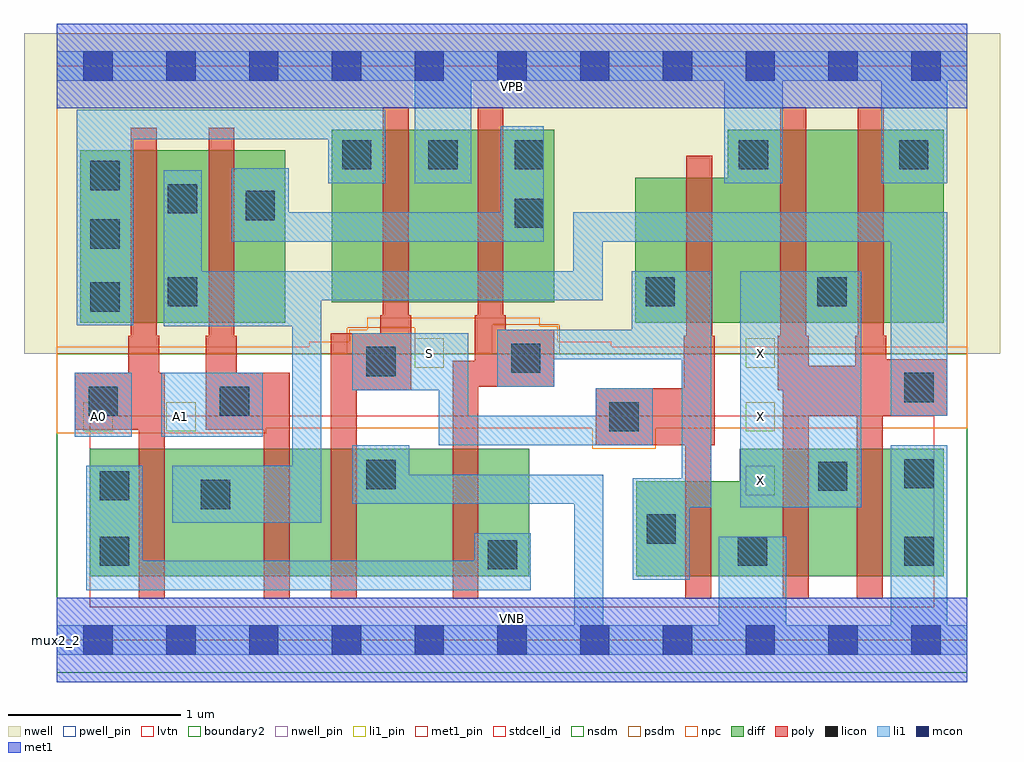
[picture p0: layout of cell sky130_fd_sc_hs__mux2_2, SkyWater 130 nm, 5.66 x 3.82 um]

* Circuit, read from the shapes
.subckt sky130_fd_sc_hs__mux2_2 A0 A1 S VGND VNB VPB VPWR X
XM1 n1 A0 n2 VNB sky130_fd_pr__nfet_01v8_lvt w=0.74 l=0.15
XM2 n3 A1 n1 VNB sky130_fd_pr__nfet_01v8_lvt w=0.74 l=0.15
XM3 VGND S n3 VNB sky130_fd_pr__nfet_01v8_lvt w=0.74 l=0.15
XM4 n2 n4 VGND VNB sky130_fd_pr__nfet_01v8_lvt w=0.74 l=0.15
XM5 VGND S n4 VNB sky130_fd_pr__nfet_01v8_lvt w=0.55 l=0.15
XM6 X n1 VGND VNB sky130_fd_pr__nfet_01v8_lvt w=0.74 l=0.15 m=2
XM7 n1 A0 n5 VPB sky130_fd_pr__pfet_01v8 w=1 l=0.15
XM8 n6 A1 n1 VPB sky130_fd_pr__pfet_01v8 w=1 l=0.15
XM9 VPWR S n5 VPB sky130_fd_pr__pfet_01v8 w=1 l=0.15
XM10 n6 n4 VPWR VPB sky130_fd_pr__pfet_01v8 w=1 l=0.15
XM11 VPWR S n4 VPB sky130_fd_pr__pfet_01v8 w=0.84 l=0.15
XM12 X n1 VPWR VPB sky130_fd_pr__pfet_01v8 w=1.12 l=0.15 m=2
.ends

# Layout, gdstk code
import gdstk
lib = gdstk.Library(unit=1e-6, precision=1e-09)
def R(c, l, rs):  # rectangles x0, y0, x1, y1
    for r in rs: c.add(gdstk.rectangle(r[:2], r[2:], *l))
def A(c, l, x, y, w, h, nx, ny, dx, dy):  # array of equal rectangles
    R(c, l, [(x+i*dx, y+j*dy, x+i*dx+w, y+j*dy+h) for i in range(nx) for j in range(ny)])
def P(c, l, *ps):  # polygons
    for p in ps: c.add(gdstk.Polygon(p, *l))
nwell_pin = (64, 16)
nwell = (64, 20)
diff = (65, 20)
poly = (66, 20)
licon = (66, 44)
li1_pin = (67, 16)
li1 = (67, 20)
mcon = (67, 44)
met1_pin = (68, 16)
met1 = (68, 20)
stdcell_id = (81, 4)
nsdm = (93, 44)
psdm = (94, 20)
npc = (95, 20)
pwell_pin = (122, 16)
lvtn = (125, 44)
boundary2 = (236, 0)

sky130_fd_sc_hs__mux2_2 = lib.new_cell('sky130_fd_sc_hs__mux2_2')
R(sky130_fd_sc_hs__mux2_2, nwell_pin, [(0,3.085,5.28,3.33)])
R(sky130_fd_sc_hs__mux2_2, nwell, [(-0.19,1.66,5.47,3.52)])
R(sky130_fd_sc_hs__mux2_2, diff, [(0.19,0.37,2.74,1.11), (0.135,1.84,1.325,2.84), (1.595,1.96,2.885,2.96)])
P(sky130_fd_sc_hs__mux2_2, diff, [(5.145,1.11),(3.96,1.11),(3.96,0.92),(3.36,0.92),(3.36,0.37),(5.145,0.37)],
  [(5.145,2.96),(3.89,2.96),(3.89,2.68),(3.355,2.68),(3.355,1.84),(5.145,1.84)])
P(sky130_fd_sc_hs__mux2_2, poly, [(5.165,1.63),(4.81,1.63),(4.81,1.765),(4.795,1.765),(4.795,3.09),(4.645,3.09),(4.645,1.765),(4.63,1.765),(4.63,1.59),(4.36,1.59),(4.36,1.765),(4.345,1.765),(4.345,3.09),(4.195,3.09),(4.195,1.765),(4.18,1.765),(4.18,1.45),(4.21,1.45),(4.21,0.24),(4.36,0.24),(4.36,1.3),(4.64,1.3),(4.64,0.24),(4.79,0.24),(4.79,1.3),(5.165,1.3)],
  [(3.815,1.765),(3.8,1.765),(3.8,2.81),(3.65,2.81),(3.65,1.765),(3.635,1.765),(3.635,1.46),(3.125,1.46),(3.125,1.13),(3.645,1.13),(3.645,0.24),(3.795,0.24),(3.795,1.13),(3.815,1.13)],
  [(2.885,1.8),(2.605,1.8),(2.605,1.885),(2.59,1.885),(2.59,3.09),(2.44,3.09),(2.44,1.885),(2.425,1.885),(2.425,1.62),(2.295,1.62),(2.295,0.24),(2.445,0.24),(2.445,1.47),(2.885,1.47)],
  [(2.055,1.885),(2.04,1.885),(2.04,3.09),(1.89,3.09),(1.89,1.885),(1.875,1.885),(1.875,1.78),(1.59,1.78),(1.59,0.24),(1.74,0.24),(1.74,1.45),(2.055,1.45)],
  [(1.35,1.55),(1.045,1.55),(1.045,1.765),(1.03,1.765),(1.03,2.97),(0.88,2.97),(0.88,1.765),(0.865,1.765),(0.865,1.22),(1.2,1.22),(1.2,0.24),(1.35,0.24)],
  [(0.625,1.55),(0.595,1.55),(0.595,1.765),(0.58,1.765),(0.58,2.97),(0.43,2.97),(0.43,1.765),(0.415,1.765),(0.415,1.55),(0.105,1.55),(0.105,1.22),(0.475,1.22),(0.475,0.24),(0.625,0.24)])
A(sky130_fd_sc_hs__mux2_2, licon, 1.655, 2.73, 0.17, 0.17, 3, 1, 0.5, 0)
R(sky130_fd_sc_hs__mux2_2, licon, [(2.5,0.41,2.67,0.58), (0.25,0.43,0.42,0.6), (3.95,0.43,4.12,0.6), (4.915,0.43,5.085,0.6), (3.42,0.56,3.59,0.73), (0.835,0.76,1.005,0.93), (0.25,0.81,0.42,0.98), (4.415,0.865,4.585,1.035), (1.795,0.875,1.965,1.045), (4.915,0.88,5.085,1.05), (3.205,1.21,3.375,1.38), (0.185,1.3,0.355,1.47), (0.945,1.3,1.115,1.47), (4.915,1.38,5.085,1.55), (1.795,1.53,1.965,1.7), (2.635,1.55,2.805,1.72), (0.195,1.905,0.365,2.075), (0.645,1.935,0.815,2.105), (3.415,1.935,3.585,2.105), (4.41,1.935,4.58,2.105), (0.195,2.27,0.365,2.44), (2.655,2.39,2.825,2.56), (1.095,2.435,1.265,2.605), (0.645,2.475,0.815,2.645), (0.195,2.61,0.365,2.78), (3.955,2.73,4.125,2.9), (4.885,2.73,5.055,2.9)])
A(sky130_fd_sc_hs__mux2_2, li1_pin, 3.995, 0.84, 0.17, 0.17, 1, 3, 0, 0.37)
R(sky130_fd_sc_hs__mux2_2, li1_pin, [(0.155,1.21,0.325,1.38), (0.635,1.21,0.805,1.38), (2.075,1.58,2.245,1.75)])
R(sky130_fd_sc_hs__mux2_2, li1, [(3.965,0.77,4.665,2.14), (0.105,1.18,0.435,1.55), (0.605,1.18,1.195,1.55)])
P(sky130_fd_sc_hs__mux2_2, li1, [(1.905,3.075),(0.115,3.075),(0.115,1.825),(0.445,1.825),(0.445,2.905),(1.575,2.905),(1.575,2.65),(1.905,2.65)],
  [(5.28,0.085),(5.165,0.085),(5.165,1.13),(4.835,1.13),(4.835,0.085),(4.23,0.085),(4.23,0.6),(3.84,0.6),(3.84,0.085),(3.17,0.085),(3.17,0.96),(2.045,0.96),(2.045,1.13),(1.715,1.13),(1.715,0.79),(3,0.79),(3,0.085),(0,0.085),(0,-0.085),(5.28,-0.085)],
  [(2.75,0.62),(2.42,0.62),(2.42,0.46),(0.5,0.46),(0.5,1.01),(0.17,1.01),(0.17,0.29),(2.75,0.29)],
  [(2.825,2.98),(2.575,2.98),(2.575,2.48),(1.345,2.48),(1.345,2.735),(1.015,2.735),(1.015,2.31),(2.825,2.31)],
  [(3.455,1.46),(3.125,1.46),(3.125,1.3),(2.385,1.3),(2.385,1.78),(1.715,1.78),(1.715,1.45),(2.215,1.45),(2.215,1.13),(3.455,1.13)],
  [(3.795,2.14),(3.335,2.14),(3.335,1.8),(2.555,1.8),(2.555,1.47),(2.885,1.47),(2.885,1.63),(3.625,1.63),(3.625,0.94),(3.34,0.94),(3.34,0.35),(3.67,0.35),(3.67,0.77),(3.795,0.77)],
  [(5.165,2.48),(2.995,2.48),(2.995,2.14),(0.84,2.14),(0.84,2.725),(0.62,2.725),(0.62,1.82),(1.365,1.82),(1.365,1.01),(0.67,1.01),(0.67,0.68),(1.535,0.68),(1.535,1.97),(3.165,1.97),(3.165,2.31),(4.835,2.31),(4.835,1.3),(5.165,1.3)],
  [(5.28,3.415),(0,3.415),(0,3.245),(2.075,3.245),(2.075,2.65),(2.405,2.65),(2.405,3.245),(3.87,3.245),(3.87,2.65),(4.21,2.65),(4.21,3.245),(4.78,3.245),(4.78,2.65),(5.165,2.65),(5.165,3.245),(5.28,3.245)])
A(sky130_fd_sc_hs__mux2_2, mcon, 0.155, -0.085, 0.17, 0.17, 11, 2, 0.48, 3.33)
R(sky130_fd_sc_hs__mux2_2, met1_pin, [(0,0,5.28,0.245), (0,3.085,5.28,3.33)])
R(sky130_fd_sc_hs__mux2_2, met1, [(0,-0.245,5.28,0.245), (0,3.085,5.28,3.575)])
R(sky130_fd_sc_hs__mux2_2, stdcell_id, [(0,0,5.28,3.33)])
R(sky130_fd_sc_hs__mux2_2, nsdm, [(0,-0.19,5.28,1.66)])
P(sky130_fd_sc_hs__mux2_2, psdm, [(5.28,3.52),(0,3.52),(0,1.66),(1.685,1.66),(1.685,1.81),(2.075,1.81),(2.075,1.66),(2.525,1.66),(2.525,1.83),(2.915,1.83),(2.915,1.66),(5.28,1.66)])
P(sky130_fd_sc_hs__mux2_2, npc, [(5.28,1.7),(3.215,1.7),(3.215,1.73),(2.905,1.73),(2.905,1.82),(2.8,1.82),(2.8,1.87),(1.8,1.87),(1.8,1.8),(1.695,1.8),(1.695,1.73),(1.465,1.73),(1.465,1.7),(0,1.7),(0,1.2),(1.215,1.2),(1.215,1.23),(3.105,1.23),(3.105,1.11),(3.475,1.11),(3.475,1.23),(5.28,1.23)])
R(sky130_fd_sc_hs__mux2_2, pwell_pin, [(0,0,5.28,0.245)])
R(sky130_fd_sc_hs__mux2_2, lvtn, [(0.19,0.19,5.09,1.3)])
R(sky130_fd_sc_hs__mux2_2, boundary2, [(0,0,5.28,3.33)])
sky130_fd_sc_hs__mux2_2.add(gdstk.Label('mux2_2', (0,0), layer=83, texttype=44))
sky130_fd_sc_hs__mux2_2.add(gdstk.Label('VNB', (2.64,0.123), layer=64, texttype=59))
sky130_fd_sc_hs__mux2_2.add(gdstk.Label('VPB', (2.64,3.208), layer=64, texttype=5))
sky130_fd_sc_hs__mux2_2.add(gdstk.Label('VPWR', (2.64,3.208), layer=68, texttype=5))
sky130_fd_sc_hs__mux2_2.add(gdstk.Label('VGND', (2.64,0.123), layer=68, texttype=5))
sky130_fd_sc_hs__mux2_2.add(gdstk.Label('S', (2.16,1.665), layer=67, texttype=5))
sky130_fd_sc_hs__mux2_2.add(gdstk.Label('A1', (0.72,1.295), layer=67, texttype=5))
sky130_fd_sc_hs__mux2_2.add(gdstk.Label('A0', (0.24,1.295), layer=67, texttype=5))
sky130_fd_sc_hs__mux2_2.add(gdstk.Label('X', (4.08,0.925), layer=67, texttype=5))
sky130_fd_sc_hs__mux2_2.add(gdstk.Label('X', (4.08,1.295), layer=67, texttype=5))
sky130_fd_sc_hs__mux2_2.add(gdstk.Label('X', (4.08,1.665), layer=67, texttype=5))

lib.write_gds('sky130_fd_sc_hs__mux2_2.gds')
